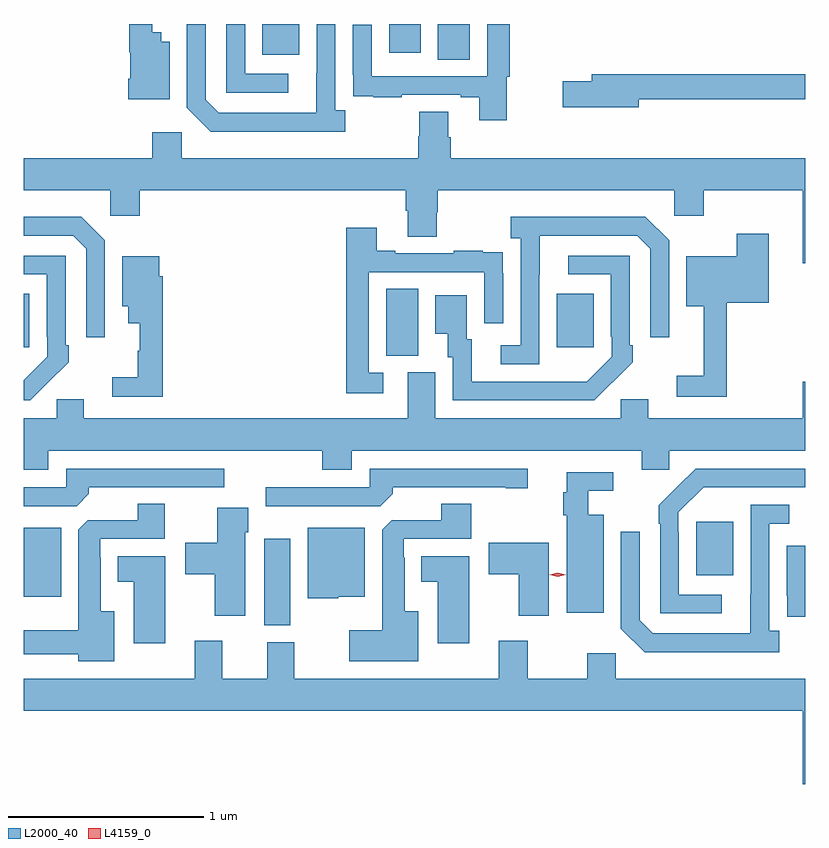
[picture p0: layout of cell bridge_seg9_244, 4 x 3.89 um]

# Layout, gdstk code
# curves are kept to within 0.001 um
import gdstk
lib = gdstk.Library(unit=1e-6, precision=1e-09)
def R(c, l, rs):  # rectangles x0, y0, x1, y1
    for r in rs: c.add(gdstk.rectangle(r[:2], r[2:], *l))
def P(c, l, *ps):  # polygons
    for p in ps: c.add(gdstk.Polygon(p, *l))
L2000_40 = (2000, 40)
L4159_0 = (4159, 0)

bridge_seg9_244 = lib.new_cell('bridge_seg9_244')
R(bridge_seg9_244, L2000_40, [(246.17,1207.513,246.304,1207.957), (244.939,1207.661,245.131,1208.014), (248.381,1207.769,248.569,1208.044), (246.794,1208.893,246.958,1209.236), (244.939,1208.937,244.969,1209.211), (247.667,1208.937,247.855,1209.211), (247.058,1210.408,247.222,1210.59), (246.161,1210.433,246.349,1210.59), (246.809,1210.443,246.97,1210.59)])
P(bridge_seg9_244, L2000_40, [(245.686,1210.498),(245.644,1210.498),(245.644,1210.549),(245.597,1210.549),(245.597,1210.59),(245.479,1210.59),(245.479,1210.445),(245.486,1210.445),(245.486,1210.309),(245.474,1210.309),(245.474,1210.205),(245.686,1210.205)],
  [(246.292,1210.335),(246.072,1210.335),(246.072,1210.59),(245.976,1210.59),(245.976,1210.239),(246.292,1210.239)],
  [(246.586,1210.15),(246.534,1210.15),(246.534,1210.59),(246.438,1210.59),(246.437,1210.137),(245.937,1210.137),(245.871,1210.203),(245.871,1210.59),(245.775,1210.59),(245.775,1210.161),(245.896,1210.04),(246.586,1210.04)],
  [(247.412,1210.32),(247.427,1210.32),(247.427,1210.59),(247.311,1210.59),(247.311,1210.323),(246.72,1210.323),(246.72,1210.585),(246.624,1210.585),(246.624,1210.33),(246.625,1210.33),(246.625,1210.221),(246.727,1210.221),(246.727,1210.215),(246.875,1210.215),(246.875,1210.227),(247.175,1210.227),(247.175,1210.215),(247.271,1210.215),(247.271,1210.098),(247.412,1210.098)],
  [(248.086,1210.206),(248.939,1210.206),(248.939,1210.334),(247.847,1210.334),(247.847,1210.298),(247.698,1210.298),(247.698,1210.163),(248.086,1210.163)],
  [(248.939,1209.904),(247.124,1209.904),(247.124,1210.01),(247.111,1210.01),(247.111,1210.142),(246.964,1210.142),(246.964,1210.017),(246.959,1210.017),(246.959,1209.904),(245.748,1209.904),(245.748,1210.036),(245.597,1210.036),(245.597,1209.904),(244.939,1209.904),(244.939,1209.74),(245.382,1209.74),(245.382,1209.609),(245.534,1209.609),(245.534,1209.74),(246.893,1209.74),(246.893,1209.634),(246.905,1209.634),(246.905,1209.502),(247.053,1209.502),(247.053,1209.627),(247.058,1209.627),(247.058,1209.74),(248.268,1209.74),(248.268,1209.609),(248.42,1209.609),(248.42,1209.74),(248.924,1209.74),(248.924,1209.366),(248.939,1209.366)],
  [(247.578,1209.307),(247.579,1209.507),(248.079,1209.507),(248.145,1209.441),(248.145,1208.988),(248.241,1208.988),(248.241,1209.483),(248.12,1209.604),(247.431,1209.604),(247.431,1209.494),(247.482,1209.494),(247.482,1208.946),(247.38,1208.946),(247.38,1208.85),(247.578,1208.85)],
  [(245.355,1209.483),(245.234,1209.604),(244.939,1209.604),(244.939,1209.507),(245.193,1209.507),(245.259,1209.441),(245.259,1208.988),(245.355,1208.988)],
  [(246.778,1208.805),(246.705,1208.805),(246.705,1209.321),(247.296,1209.321),(247.296,1209.06),(247.392,1209.06),(247.392,1209.314),(247.391,1209.314),(247.391,1209.423),(247.289,1209.423),(247.289,1209.43),(247.141,1209.43),(247.141,1209.417),(246.841,1209.417),(246.841,1209.43),(246.745,1209.43),(246.745,1209.547),(246.589,1209.547),(246.589,1208.7),(246.778,1208.7)],
  [(248.537,1209.164),(248.752,1209.164),(248.752,1209.517),(248.587,1209.517),(248.587,1209.403),(248.33,1209.403),(248.33,1209.146),(248.42,1209.146),(248.42,1208.791),(248.28,1208.791),(248.28,1208.682),(248.537,1208.682)],
  [(247.949,1208.755),(247.95,1208.754),(248.055,1208.859),(248.055,1208.947),(248.04,1208.947),(248.04,1209.405),(247.725,1209.405),(247.725,1209.309),(247.944,1209.309),(247.944,1208.989),(247.947,1208.989),(247.947,1208.889),(247.819,1208.761),(247.231,1208.76),(247.231,1208.976),(247.207,1208.976),(247.207,1209.202),(247.046,1209.202),(247.046,1209.005),(247.109,1209.005),(247.109,1208.886),(247.134,1208.886),(247.134,1208.664),(247.858,1208.664)],
  [(245.063,1208.755),(245.064,1208.754),(245.169,1208.859),(245.169,1208.947),(245.154,1208.947),(245.154,1209.405),(244.939,1209.405),(244.939,1209.309),(245.058,1209.309),(245.058,1208.989),(245.061,1208.989),(245.061,1208.889),(244.939,1208.767),(244.939,1208.664),(244.972,1208.664)],
  [(245.651,1209.299),(245.632,1209.299),(245.632,1209.403),(245.444,1209.403),(245.444,1209.146),(245.474,1209.146),(245.474,1209.059),(245.534,1209.059),(245.534,1208.919),(245.523,1208.919),(245.523,1208.783),(245.394,1208.783),(245.394,1208.682),(245.651,1208.682)],
  [(245.248,1208.67),(245.109,1208.67),(245.109,1208.572),(244.939,1208.572),(244.939,1208.309),(245.065,1208.309),(245.065,1208.408),(246.467,1208.408),(246.467,1208.309),(246.619,1208.309),(246.619,1208.408),(248.102,1208.408),(248.102,1208.31),(248.241,1208.31),(248.241,1208.408),(248.939,1208.408),(248.939,1208.761),(248.924,1208.761),(248.924,1208.572),(248.134,1208.572),(248.134,1208.67),(247.995,1208.67),(247.995,1208.572),(247.045,1208.572),(247.045,1208.808),(246.905,1208.808),(246.905,1208.572),(245.248,1208.572)],
  [(246.827,1208.186),(246.827,1208.22),(247.406,1208.22),(247.406,1208.215),(247.519,1208.215),(247.519,1208.316),(246.711,1208.316),(246.711,1208.22),(246.177,1208.22),(246.177,1208.124),(246.765,1208.124)],
  [(248.512,1207.671),(248.292,1207.671),(248.292,1207.991),(248.289,1207.991),(248.289,1208.091),(248.418,1208.22),(248.939,1208.22),(248.939,1208.316),(248.378,1208.316),(248.287,1208.225),(248.286,1208.226),(248.189,1208.128),(248.189,1208.033),(248.196,1208.033),(248.196,1207.575),(248.512,1207.575)],
  [(245.273,1208.186),(245.273,1208.22),(245.965,1208.22),(245.965,1208.316),(245.157,1208.316),(245.157,1208.22),(244.939,1208.22),(244.939,1208.124),(245.211,1208.124)],
  [(247.906,1208.08),(247.828,1208.08),(247.828,1208.202),(247.957,1208.202),(247.957,1208.298),(247.718,1208.298),(247.718,1208.195),(247.699,1208.195),(247.699,1208.076),(247.718,1208.076),(247.718,1207.577),(247.906,1207.577)],
  [(246.958,1207.585),(246.889,1207.585),(246.889,1207.859),(246.885,1207.859),(246.885,1207.956),(247.229,1207.956),(247.229,1208.135),(247.076,1208.135),(247.076,1208.052),(246.822,1208.052),(246.773,1208.003),(246.773,1207.489),(246.606,1207.489),(246.606,1207.331),(246.958,1207.331)],
  [(245.404,1207.585),(245.335,1207.585),(245.335,1207.859),(245.331,1207.859),(245.331,1207.956),(245.662,1207.956),(245.662,1208.135),(245.522,1208.135),(245.522,1208.052),(245.268,1208.052),(245.219,1208.003),(245.219,1207.489),(244.939,1207.489),(244.939,1207.367),(245.219,1207.367),(245.219,1207.331),(245.404,1207.331)],
  [(248.806,1207.486),(248.754,1207.486),(248.754,1208.034),(248.857,1208.034),(248.857,1208.13),(248.658,1208.13),(248.657,1207.473),(248.157,1207.473),(248.091,1207.539),(248.091,1207.993),(247.995,1207.993),(247.995,1207.497),(248.116,1207.376),(248.806,1207.376)],
  [(246.073,1207.989),(246.088,1207.989),(246.088,1208.116),(245.93,1208.116),(245.93,1207.936),(245.766,1207.936),(245.766,1207.774),(245.918,1207.774),(245.918,1207.563),(246.073,1207.563)],
  [(246.549,1207.661),(246.685,1207.661),(246.685,1208.014),(246.392,1208.014),(246.392,1207.652),(246.549,1207.652)],
  [(247.627,1207.936),(247.32,1207.936),(247.32,1207.774),(247.472,1207.774),(247.472,1207.563),(247.627,1207.563)],
  [(248.939,1207.921),(248.844,1207.921),(248.844,1207.666),(248.845,1207.666),(248.845,1207.557),(248.939,1207.557)],
  [(247.219,1207.867),(246.974,1207.867),(246.974,1207.736),(247.058,1207.736),(247.058,1207.422),(247.219,1207.422)],
  [(245.665,1207.867),(245.42,1207.867),(245.42,1207.736),(245.504,1207.736),(245.504,1207.422),(245.665,1207.422)],
  [(248.924,1206.702),(248.939,1206.702),(248.939,1207.24),(247.968,1207.24),(247.968,1207.372),(247.822,1207.372),(247.822,1207.24),(247.518,1207.24),(247.518,1207.435),(247.37,1207.435),(247.37,1207.24),(246.325,1207.24),(246.325,1207.428),(246.185,1207.428),(246.185,1207.24),(245.956,1207.24),(245.956,1207.435),(245.816,1207.435),(245.816,1207.24),(244.939,1207.24),(244.939,1207.076),(248.924,1207.076)])
P(bridge_seg9_244, L4159_0, [(247.673,1207.762),(247.632,1207.772),(247.632,1207.772),(247.632,1207.772),(247.672,1207.782),(247.713,1207.773),(247.713,1207.772),(247.713,1207.772)])

lib.write_gds('bridge_seg9_244.gds')
